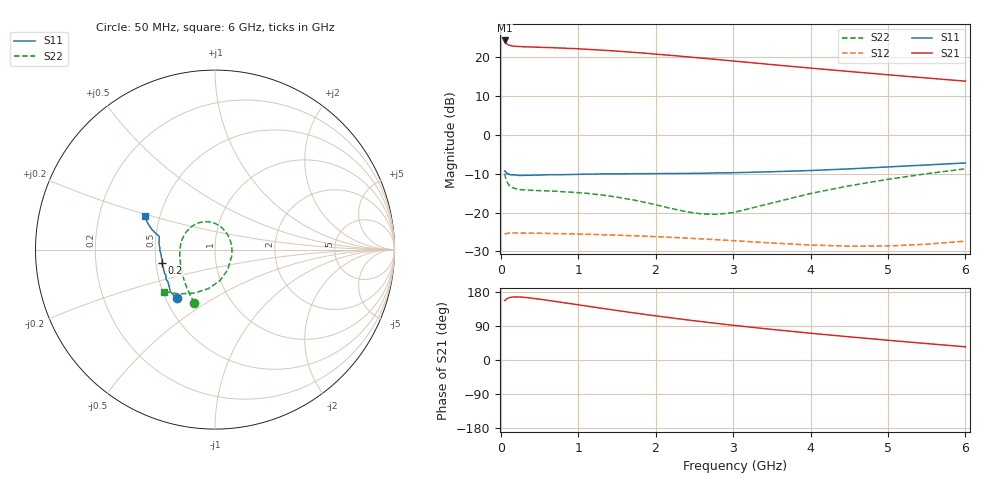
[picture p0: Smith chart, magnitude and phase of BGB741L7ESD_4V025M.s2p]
!  Infineon Technologies AG
!  BGB741L7ESD
!  Vce = 4.0V, Ic = 25.0mA
!  DATUM: 30.06.2009 10:10:26
# GHz  S  MA  R  50
!f  S11  S21  S12  S22
!GHz  Mag  Ang  Mag  Ang  Mag  Ang  Mag  Ang
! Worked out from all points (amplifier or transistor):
!   44 points, 50 MHz to 6 GHz, reference 50 ohm
!   highest |S21| = 24.4 dB at 50 MHz (marker M1)
!   |S21| within 3 dB of that: start of sweep to 1.666 GHz
!   unconditionally stable (mu >= 1): 186.7 MHz to end of sweep
!   at 120 MHz: K = 0.97, MSG = 24.2 dB, |S12| = -25.3 dB
!   at 1 GHz: K = 1.04, MAG = 22.7 dB, |S12| = -25.6 dB
!   at 6 GHz: K = 1.68, MAG = 15.8 dB, |S12| = -27.4 dB
!   S11 on the Smith chart (normalised r, x): 50 MHz: 0.57, -0.35; 200 MHz: 0.54, -0.09; 6 GHz: 0.41, +0.19
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0.05  0.3445 -128.5  16.5 156.7  0.05225 16.2  0.318 -111.3
0.06  0.3416 -136.9  15.7 158.4  0.0529 13.6  0.2863 -119.3
0.07  0.3268 -141.4  15.2 160.3  0.05354 11.5  0.2656 -126.1
0.08  0.3171 -146.2  14.86 161.7  0.0536 10.2  0.25 -131.8
0.1  0.3089 -152.3  14.44 163.6  0.05412 8.2  0.2305 -141.2
0.14  0.3042 -160.3  14.06 165.9  0.05426 5.4  0.2117 -154.3
0.2  0.3037 -165.9  13.85 166.4  0.05442 3.3  0.2014 -166.6
0.35  0.3018 -173.4  13.64 164.4  0.05429 1.0  0.1943 175.1
0.7  0.307 179.7  13.28 154.7  0.05348 -1.2  0.1883 148.8
1.1  0.3123 175.1  12.73 142.6  0.05242 -2.4  0.1772 124.6
1.4  0.3149 172.3  12.21 133.6  0.05139 -3.1  0.1631 107.8
1.6  0.3153 170.4  11.81 127.7  0.05062 -3.4  0.1516 96.1
1.9  0.3167 168.4  11.23 119.2  0.04931 -3.6  0.1329 77.3
2.2  0.318 167.4  10.6 111.2  0.04783 -3.7  0.1129 55.6
2.8  0.324 166.1  9.369 96.2  0.04455 -2.6  0.09483 -1.9
3  0.3256 166.1  8.971 91.7  0.04336 -1.8  0.09972 -20.8
3.5  0.3353 165.3  8.064 80.8  0.04045 1.2  0.1324 -57.6
4  0.3477 164.2  7.267 70.7  0.0381 6.0  0.1757 -81.2
4.5  0.365 162.7  6.57 61.2  0.03682 12.6  0.2207 -99.7
5  0.3867 160.4  5.961 52.1  0.03704 20.2  0.2677 -115.4
5.5  0.41 157.6  5.416 43.3  0.03902 27.6  0.3162 -128.6
6  0.4349 154.5  4.933 34.8  0.04274 33.6  0.3661 -140.3
